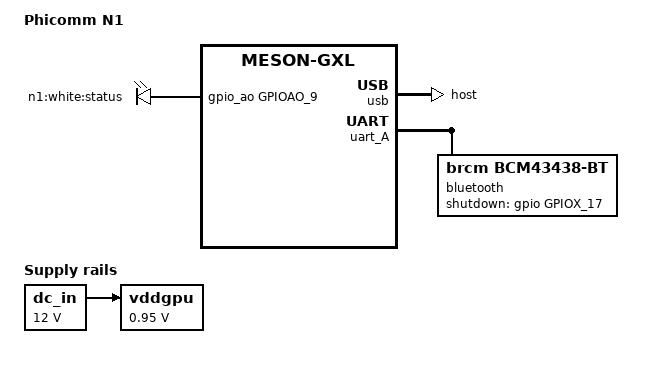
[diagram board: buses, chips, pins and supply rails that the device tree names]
// SPDX-License-Identifier: (GPL-2.0+ OR MIT)
/*
 * Copyright (c) 2018 He Yangxuan
 */

/dts-v1/;

#include "meson-gxl-s905d-p230.dts"

/ {
	compatible = "phicomm,n1", "amlogic,s905d", "amlogic,meson-gxl";
	model = "Phicomm N1";

	cvbs-connector {
		status = "disabled";
	};

	leds {
		compatible = "gpio-leds";

		led {
			label = "n1:white:status";
			gpios = <&gpio_ao GPIOAO_9 GPIO_ACTIVE_HIGH>;
			default-state = "on";
		};
	};

	dc_in: regulator-vcc_12v {
		compatible = "regulator-fixed";
		regulator-name = "VCC_12V";
		regulator-min-microvolt = <0xb71b00>;
		regulator-max-microvolt = <0xb71b00>;
		regulator-boot-on;
		regulator-always-on;
	};

	vddgpu: regulator-vddgpu {
		compatible = "regulator-fixed";
		regulator-name = "mali";
		regulator-min-microvolt = <0xe7ef0>;
		regulator-max-microvolt = <0xe7ef0>;
		vin-supply = <&dc_in>;
		regulator-boot-on;
		regulator-always-on;
	};
};

&cpu0 {
	i-cache-size = <0x8000>;
	d-cache-size = <0x8000>;
};

&cpu1 {
        i-cache-size = <0x8000>;
        d-cache-size = <0x8000>;
};

&cpu2 {
        i-cache-size = <0x8000>;
        d-cache-size = <0x8000>;
};

&cpu3 {
        i-cache-size = <0x8000>;
        d-cache-size = <0x8000>;
};

&l2 {
	cache-size = <0x80000>;
	cache-unified;
};

&cvbs_vdac_port {
	status = "disabled";
};

&dwc3 {
	snps,usb2-lpm-disable;
};

&usb {
	dr_mode = "host";
};

&sd_emmc_b {
	status = "disabled";
};

&external_mdio {
	compatible = "snps,dwmac-mdio";
};

&uart_A {
	status = "okay";
	pinctrl-0 = <&uart_a_pins>, <&uart_a_cts_rts_pins>;
	pinctrl-names = "default";
	uart-has-rtscts;

	bluetooth {
		compatible = "brcm,bcm43438-bt";
		shutdown-gpios = <&gpio GPIOX_17 GPIO_ACTIVE_HIGH>;
		max-speed = <2000000>;
		clocks = <&wifi32k>;
		clock-names = "lpo";
	};
};

&external_phy {
	/delete-property/ eee-broken-1000t;
};
